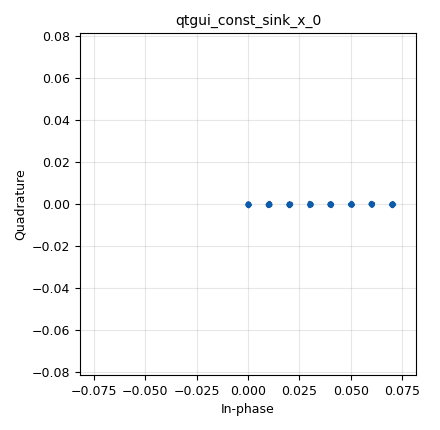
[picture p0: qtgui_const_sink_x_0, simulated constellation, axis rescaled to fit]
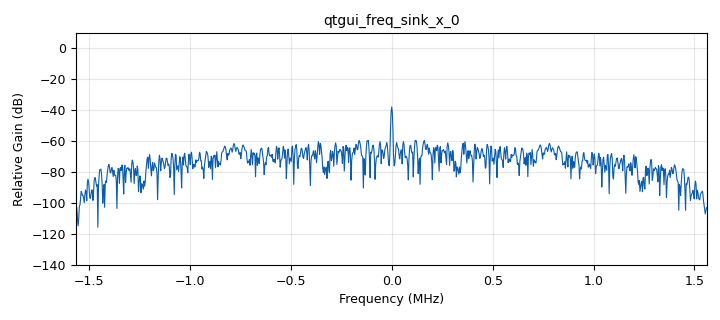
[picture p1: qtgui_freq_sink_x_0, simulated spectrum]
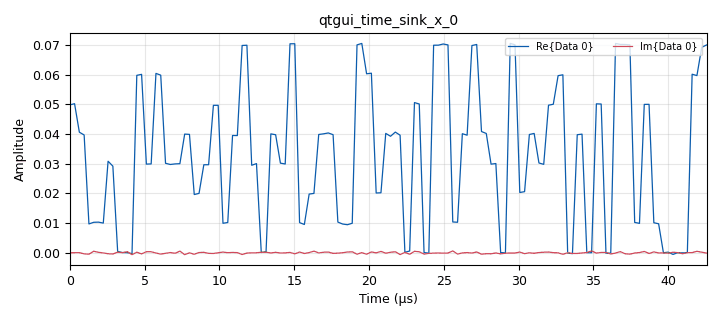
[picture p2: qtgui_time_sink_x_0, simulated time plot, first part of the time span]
options:
  parameters:
    author: KevinJimenez_JulianaBarrios
    copyright: UIS
    generate_options: qt_gui
    id: ModulacionASK
    output_language: python
    title: ModulacionASK
  states: {}

blocks:
- name: Ac
  id: variable_qtgui_range
  parameters:
    label: Amplitud de la portadora
    start: '0'
    step: '50e-3'
    stop: '2'
    value: '100e-3'
  states: {}
- name: B
  id: variable_qtgui_range
  parameters:
    label: '#muestras por simbolo '
    start: '1'
    step: '1'
    stop: '20'
    value: '10'
  states: {state: disabled}
- name: DC
  id: variable_qtgui_range
  parameters:
    label: Nivel de continua
    start: '-8'
    step: '100e-3'
    stop: '8'
    value: '0'
  states: {}
- name: GTX
  id: variable_qtgui_range
  parameters:
    label: 'Ganancia del transmisor '
    start: '0'
    step: '1'
    stop: '30'
    value: '0'
  states: {}
- name: 'No'
  id: variable_qtgui_range
  parameters:
    label: 'Amplitud ruido '
    start: '0'
    step: '10e-5'
    stop: '30e-3'
    value: '4e-4'
  states: {}
- name: fc
  id: variable_qtgui_range
  parameters:
    label: Frecuencia de la portadora
    start: 50e6
    step: 1e6
    stop: 2.2e9
    value: 50e6
  states: {}
- name: ka
  id: variable_qtgui_range
  parameters:
    start: '0'
    step: '100e-3'
    stop: '2'
    value: '100e-3'
  states: {}
- name: n
  id: variable_qtgui_range
  parameters:
    label: '#numero de bit  por muestra'
    start: '1'
    step: '1'
    stop: '4'
    value: '2'
  states: {state: disabled}
- name: samp_rate
  id: variable
  parameters:
    value: 12500000/4
  states: {}
- name: analog_noise_source_x_0
  id: analog_noise_source_x
  parameters:
    amp: 'No'
    noise_type: analog.GR_GAUSSIAN
    seed: '0'
    type: complex
  states: {}
- name: analog_random_source_x_0
  id: analog_random_source_x
  parameters:
    max: 2**3
    min: '0'
    num_samps: '1000'
    repeat: 'True'
    type: byte
  states: {}
- name: blocks_add_const_vxx_0
  id: blocks_add_const_vxx
  parameters:
    const: DC
    type: float
  states: {}
- name: blocks_add_xx_0
  id: blocks_add_xx
  parameters:
    type: complex
  states: {}
- name: blocks_float_to_complex_0
  id: blocks_float_to_complex
  parameters: {}
  states: {}
- name: blocks_multiply_const_vxx_0
  id: blocks_multiply_const_vxx
  parameters:
    const: ka
    type: float
  states: {}
- name: blocks_multiply_const_vxx_0_0
  id: blocks_multiply_const_vxx
  parameters:
    const: Ac
    type: complex
  states: {}
- name: blocks_null_source_0
  id: blocks_null_source
  parameters:
    type: float
  states: {}
- name: blocks_repeat_0
  id: blocks_repeat
  parameters:
    interp: '2'
    type: float
  states: {}
- name: blocks_uchar_to_float_0
  id: blocks_uchar_to_float
  parameters: {}
  states: {}
- name: qtgui_const_sink_x_0
  id: qtgui_const_sink_x
  parameters:
    size: '1024'
    type: complex
  states: {}
- name: qtgui_freq_sink_x_0
  id: qtgui_freq_sink_x
  parameters:
    bw: samp_rate
    fc: '0'
    fftsize: '1024'
    type: complex
  states: {}
- name: qtgui_time_sink_x_0
  id: qtgui_time_sink_x
  parameters:
    autoscale: 'True'
    size: 1024*8
    srate: samp_rate
    type: complex
  states: {}
- name: uhd_usrp_sink_0
  id: uhd_usrp_sink
  parameters:
    ant0: '"TX/RX"'
    center_freq0: fc
    gain0: GTX
    samp_rate: samp_rate
    sync: pc_clock
    type: fc32
  states: {}

connections:
- [analog_noise_source_x_0, '0', blocks_add_xx_0, '1']
- [analog_random_source_x_0, '0', blocks_uchar_to_float_0, '0']
- [blocks_add_const_vxx_0, '0', blocks_float_to_complex_0, '0']
- [blocks_add_xx_0, '0', qtgui_const_sink_x_0, '0']
- [blocks_add_xx_0, '0', qtgui_freq_sink_x_0, '0']
- [blocks_add_xx_0, '0', qtgui_time_sink_x_0, '0']
- [blocks_add_xx_0, '0', uhd_usrp_sink_0, '0']
- [blocks_float_to_complex_0, '0', blocks_multiply_const_vxx_0_0, '0']
- [blocks_multiply_const_vxx_0, '0', blocks_add_const_vxx_0, '0']
- [blocks_multiply_const_vxx_0_0, '0', blocks_add_xx_0, '0']
- [blocks_null_source_0, '0', blocks_float_to_complex_0, '1']
- [blocks_repeat_0, '0', blocks_multiply_const_vxx_0, '0']
- [blocks_uchar_to_float_0, '0', blocks_repeat_0, '0']

metadata:
  file_format: 1
